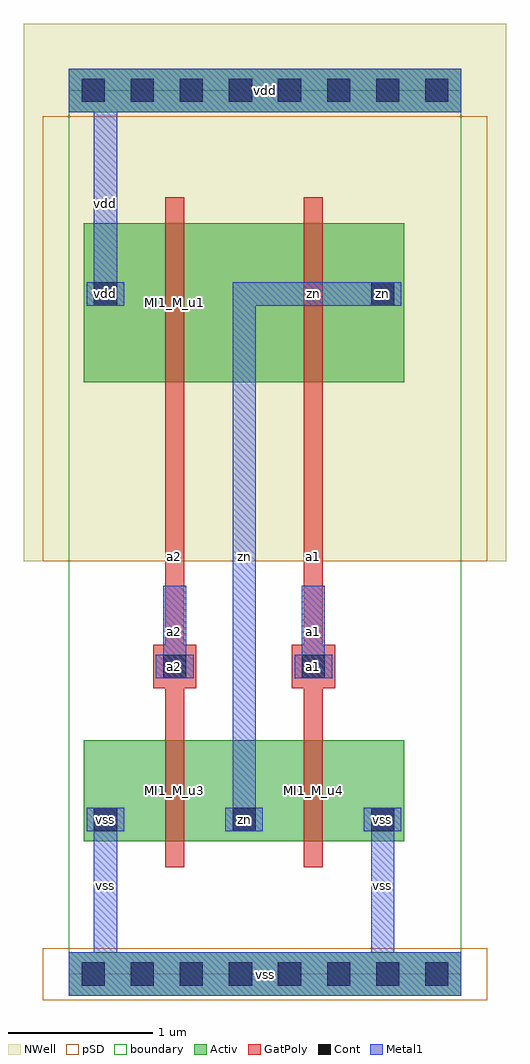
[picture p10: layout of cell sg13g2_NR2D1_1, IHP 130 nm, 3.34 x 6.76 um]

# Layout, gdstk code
import gdstk
lib = gdstk.Library(unit=1e-6, precision=1e-09)
def R(c, l, rs):  # rectangles x0, y0, x1, y1
    for r in rs: c.add(gdstk.rectangle(r[:2], r[2:], *l))
def A(c, l, x, y, w, h, nx, ny, dx, dy):  # array of equal rectangles
    R(c, l, [(x+i*dx, y+j*dy, x+i*dx+w, y+j*dy+h) for i in range(nx) for j in range(ny)])
Activ = (1, 0)
GatPoly = (5, 0)
Cont = (6, 0)
Metal1 = (8, 0)
pSD = (14, 0)
NWell = (31, 0)
TEXT = (63, 0)
boundary = (189, 4)

sg13g2_nr2d1_1 = lib.new_cell('sg13g2_NR2D1_1')
A(sg13g2_nr2d1_1, Activ, 0.105, 0.92, 0.3, 0.3, 3, 1, 0.96, 0)
R(sg13g2_nr2d1_1, Activ, [(0,-0.15,2.72,0.15), (0.105,0.92,1.365,1.62), (1.065,0.92,2.325,1.62), (0.105,4.1,1.365,5.2), (1.065,4.1,2.325,5.2), (0.105,4.56,0.405,4.86), (2.025,4.56,2.325,4.86), (0,5.97,2.72,6.27)])
R(sg13g2_nr2d1_1, GatPoly, [(0.67,0.74,0.8,1.8), (1.63,0.74,1.76,1.8), (0.67,1.005,0.8,4.775), (1.63,1.005,1.76,4.775), (0.585,1.98,0.885,2.28), (1.545,1.98,1.845,2.28), (0.67,3.92,0.8,5.38), (1.63,3.92,1.76,5.38)])
A(sg13g2_nr2d1_1, Cont, 0.09, -0.08, 0.16, 0.16, 8, 2, 0.34, 6.12)
A(sg13g2_nr2d1_1, Cont, 0.175, 0.99, 0.16, 0.16, 3, 1, 0.96, 0)
R(sg13g2_nr2d1_1, Cont, [(0.655,2.05,0.815,2.21), (1.615,2.05,1.775,2.21), (0.175,4.63,0.335,4.79), (2.095,4.63,2.255,4.79)])
A(sg13g2_nr2d1_1, Metal1, 0.125, 0.99, 0.26, 0.16, 3, 1, 0.96, 0)
R(sg13g2_nr2d1_1, Metal1, [(0,-0.15,2.72,0.15), (0.175,0.07,0.335,1.15), (2.095,0.07,2.255,1.15), (1.135,0.99,1.295,4.79), (0.605,2.05,0.865,2.21), (0.655,2.05,0.815,2.69), (1.565,2.05,1.825,2.21), (1.615,2.05,1.775,2.69), (0.125,4.63,0.385,4.79), (0.175,4.63,0.335,6.05), (1.135,4.63,2.255,4.79), (2.045,4.63,2.305,4.79), (0,5.97,2.72,6.27)])
R(sg13g2_nr2d1_1, pSD, [(-0.18,-0.18,2.9,0.18), (-0.18,2.86,2.9,5.94)])
R(sg13g2_nr2d1_1, NWell, [(-0.31,2.86,3.03,6.58)])
R(sg13g2_nr2d1_1, boundary, [(0,0,2.72,6.12)])
sg13g2_nr2d1_1.add(gdstk.FlexPath([(0.105,0.41),(2.325,0.41)], 0, ends="flush", simple_path=True, layer=63, datatype=0))  # TEXT
sg13g2_nr2d1_1.add(gdstk.FlexPath([(0.105,1.07),(2.325,1.07)], 0, ends="flush", simple_path=True, layer=63, datatype=0))  # TEXT
sg13g2_nr2d1_1.add(gdstk.FlexPath([(0.105,1.47),(2.325,1.47)], 0, ends="flush", simple_path=True, layer=63, datatype=0))  # TEXT
sg13g2_nr2d1_1.add(gdstk.FlexPath([(0.105,2.13),(2.325,2.13)], 0, ends="flush", simple_path=True, layer=63, datatype=0))  # TEXT
sg13g2_nr2d1_1.add(gdstk.FlexPath([(0.105,2.61),(2.325,2.61)], 0, ends="flush", simple_path=True, layer=63, datatype=0))  # TEXT
sg13g2_nr2d1_1.add(gdstk.FlexPath([(0.105,3.09),(2.325,3.09)], 0, ends="flush", simple_path=True, layer=63, datatype=0))  # TEXT
sg13g2_nr2d1_1.add(gdstk.FlexPath([(0.105,3.57),(2.325,3.57)], 0, ends="flush", simple_path=True, layer=63, datatype=0))  # TEXT
sg13g2_nr2d1_1.add(gdstk.FlexPath([(0.105,4.25),(2.325,4.25)], 0, ends="flush", simple_path=True, layer=63, datatype=0))  # TEXT
sg13g2_nr2d1_1.add(gdstk.FlexPath([(0.105,4.71),(2.325,4.71)], 0, ends="flush", simple_path=True, layer=63, datatype=0))  # TEXT
sg13g2_nr2d1_1.add(gdstk.FlexPath([(0.105,5.05),(2.325,5.05)], 0, ends="flush", simple_path=True, layer=63, datatype=0))  # TEXT
sg13g2_nr2d1_1.add(gdstk.FlexPath([(0.105,5.71),(2.325,5.71)], 0, ends="flush", simple_path=True, layer=63, datatype=0))  # TEXT
sg13g2_nr2d1_1.add(gdstk.FlexPath([(0.255,0.07),(0.255,6.05)], 0, ends="flush", simple_path=True, layer=63, datatype=0))  # TEXT
sg13g2_nr2d1_1.add(gdstk.FlexPath([(0.735,0.07),(0.735,6.05)], 0, ends="flush", simple_path=True, layer=63, datatype=0))  # TEXT
sg13g2_nr2d1_1.add(gdstk.FlexPath([(1.215,0.07),(1.215,6.05)], 0, ends="flush", simple_path=True, layer=63, datatype=0))  # TEXT
sg13g2_nr2d1_1.add(gdstk.FlexPath([(1.695,0.07),(1.695,6.05)], 0, ends="flush", simple_path=True, layer=63, datatype=0))  # TEXT
sg13g2_nr2d1_1.add(gdstk.FlexPath([(2.175,0.07),(2.175,6.05)], 0, ends="flush", simple_path=True, layer=63, datatype=0))  # TEXT
sg13g2_nr2d1_1.add(gdstk.Label('zn', (1.215,1.07), layer=6, texttype=0))
sg13g2_nr2d1_1.add(gdstk.Label('zn', (2.175,4.71), layer=6, texttype=0))
sg13g2_nr2d1_1.add(gdstk.Label('a1', (1.695,2.13), layer=6, texttype=0))
sg13g2_nr2d1_1.add(gdstk.Label('a2', (0.735,2.13), layer=6, texttype=0))
sg13g2_nr2d1_1.add(gdstk.Label('vss', (2.175,1.07), layer=6, texttype=0))
sg13g2_nr2d1_1.add(gdstk.Label('vss', (0.255,1.07), layer=6, texttype=0))
sg13g2_nr2d1_1.add(gdstk.Label('vdd', (0.255,4.71), layer=6, texttype=0))
sg13g2_nr2d1_1.add(gdstk.Label('vss', (2.175,1.07), layer=8, texttype=0))
sg13g2_nr2d1_1.add(gdstk.Label('vss', (2.175,0.61), layer=8, texttype=0))
sg13g2_nr2d1_1.add(gdstk.Label('vss', (0.255,1.07), layer=8, texttype=0))
sg13g2_nr2d1_1.add(gdstk.Label('vss', (0.255,0.61), layer=8, texttype=0))
sg13g2_nr2d1_1.add(gdstk.Label('vdd', (0.255,4.71), layer=8, texttype=0))
sg13g2_nr2d1_1.add(gdstk.Label('vdd', (0.255,5.34), layer=8, texttype=0))
sg13g2_nr2d1_1.add(gdstk.Label('zn', (1.215,1.07), layer=8, texttype=25))
sg13g2_nr2d1_1.add(gdstk.Label('zn', (2.175,4.71), layer=8, texttype=25))
sg13g2_nr2d1_1.add(gdstk.Label('zn', (1.215,2.89), layer=8, texttype=25))
sg13g2_nr2d1_1.add(gdstk.Label('zn', (1.695,4.71), layer=8, texttype=25))
sg13g2_nr2d1_1.add(gdstk.Label('a1', (1.695,2.13), layer=8, texttype=25))
sg13g2_nr2d1_1.add(gdstk.Label('a1', (1.695,2.37), layer=8, texttype=25))
sg13g2_nr2d1_1.add(gdstk.Label('a2', (0.735,2.13), layer=8, texttype=25))
sg13g2_nr2d1_1.add(gdstk.Label('a2', (0.735,2.37), layer=8, texttype=25))
sg13g2_nr2d1_1.add(gdstk.Label('vss', (1.36,0), layer=8, texttype=25))
sg13g2_nr2d1_1.add(gdstk.Label('vdd', (1.36,6.12), layer=8, texttype=25))
sg13g2_nr2d1_1.add(gdstk.Label('MI1_M_u4', (1.695,1.27), layer=1, texttype=0))
sg13g2_nr2d1_1.add(gdstk.Label('MI1_M_u3', (0.735,1.27), layer=1, texttype=0))
sg13g2_nr2d1_1.add(gdstk.Label('MI1_M_u2', (1.695,4.65), layer=1, texttype=0))
sg13g2_nr2d1_1.add(gdstk.Label('MI1_M_u1', (0.735,4.65), layer=1, texttype=0))
sg13g2_nr2d1_1.add(gdstk.Label('zn', (1.215,1.07), layer=1, texttype=0))
sg13g2_nr2d1_1.add(gdstk.Label('zn', (2.175,4.71), layer=1, texttype=0))
sg13g2_nr2d1_1.add(gdstk.Label('vss', (2.175,1.07), layer=1, texttype=0))
sg13g2_nr2d1_1.add(gdstk.Label('vss', (0.255,1.07), layer=1, texttype=0))
sg13g2_nr2d1_1.add(gdstk.Label('vdd', (0.255,4.71), layer=1, texttype=0))
sg13g2_nr2d1_1.add(gdstk.Label('a1', (1.695,2.89), layer=5, texttype=0))
sg13g2_nr2d1_1.add(gdstk.Label('a1', (1.695,2.13), layer=5, texttype=0))
sg13g2_nr2d1_1.add(gdstk.Label('a2', (0.735,2.89), layer=5, texttype=0))
sg13g2_nr2d1_1.add(gdstk.Label('a2', (0.735,2.13), layer=5, texttype=0))

lib.write_gds('sg13g2_NR2D1_1.gds')
